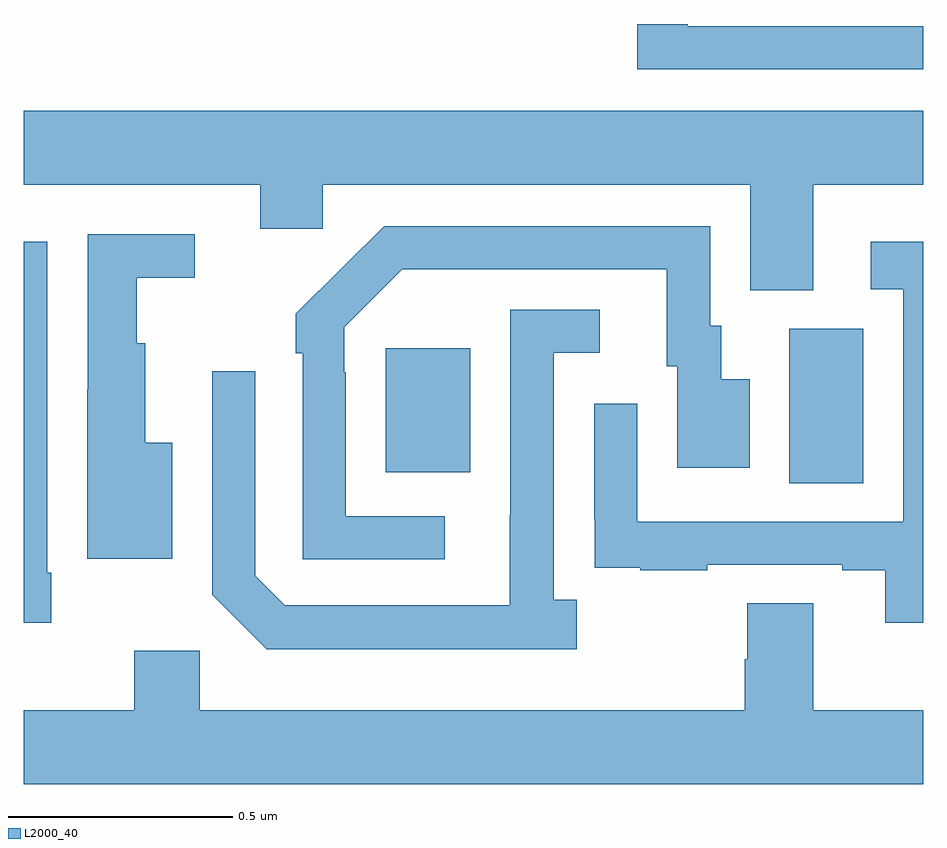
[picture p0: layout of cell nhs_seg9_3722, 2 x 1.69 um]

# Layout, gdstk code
import gdstk
lib = gdstk.Library(unit=1e-6, precision=1e-09)
def R(c, l, rs):  # rectangles x0, y0, x1, y1
    for r in rs: c.add(gdstk.rectangle(r[:2], r[2:], *l))
def P(c, l, *ps):  # polygons
    for p in ps: c.add(gdstk.Polygon(p, *l))
L2000_40 = (2000, 40)

nhs_seg9_3722 = lib.new_cell('nhs_seg9_3722')
R(nhs_seg9_3722, L2000_40, [(158.702,1194.424,158.866,1194.768), (157.805,1194.449,157.993,1194.724)])
P(nhs_seg9_3722, L2000_40, [(159,1195.44),(158.476,1195.44),(158.476,1195.445),(158.364,1195.445),(158.364,1195.344),(159,1195.344)],
  [(158.755,1195.088),(159,1195.088),(159,1195.252),(157,1195.252),(157,1195.088),(157.526,1195.088),(157.526,1194.99),(157.665,1194.99),(157.665,1195.088),(158.615,1195.088),(158.615,1194.853),(158.755,1194.853)],
  [(157.936,1194.351),(157.716,1194.351),(157.716,1194.671),(157.713,1194.671),(157.713,1194.771),(157.842,1194.9),(158.429,1194.9),(158.429,1194.684),(158.453,1194.684),(158.453,1194.459),(158.614,1194.459),(158.614,1194.655),(158.551,1194.655),(158.551,1194.774),(158.526,1194.774),(158.526,1194.996),(157.802,1194.996),(157.711,1194.905),(157.71,1194.906),(157.605,1194.801),(157.605,1194.713),(157.62,1194.713),(157.62,1194.255),(157.936,1194.255)],
  [(157.33,1194.514),(157.27,1194.514),(157.27,1194.736),(157.252,1194.736),(157.252,1194.881),(157.381,1194.881),(157.381,1194.978),(157.143,1194.978),(157.143,1194.632),(157.142,1194.632),(157.142,1194.257),(157.33,1194.257)],
  [(157.062,1194.226),(157.053,1194.226),(157.053,1194.961),(157,1194.961),(157,1194.114),(157.062,1194.114)],
  [(159,1194.961),(158.883,1194.961),(158.883,1194.855),(158.955,1194.855),(158.955,1194.339),(158.364,1194.339),(158.364,1194.601),(158.268,1194.601),(158.268,1194.346),(158.269,1194.346),(158.269,1194.237),(158.371,1194.237),(158.371,1194.231),(158.519,1194.231),(158.519,1194.243),(158.819,1194.243),(158.819,1194.231),(158.915,1194.231),(158.915,1194.114),(159,1194.114)],
  [(158.23,1194.166),(158.178,1194.166),(158.178,1194.714),(158.281,1194.714),(158.281,1194.81),(158.082,1194.81),(158.082,1194.353),(158.081,1194.353),(158.081,1194.153),(157.581,1194.153),(157.515,1194.219),(157.515,1194.673),(157.419,1194.673),(157.419,1194.177),(157.54,1194.056),(158.23,1194.056)],
  [(159,1193.92),(158.755,1193.92),(158.755,1194.158),(158.608,1194.158),(158.608,1194.033),(158.603,1194.033),(158.603,1193.92),(157.392,1193.92),(157.392,1194.052),(157.246,1194.052),(157.246,1193.92),(157,1193.92),(157,1193.756),(159,1193.756)])

lib.write_gds('nhs_seg9_3722.gds')
